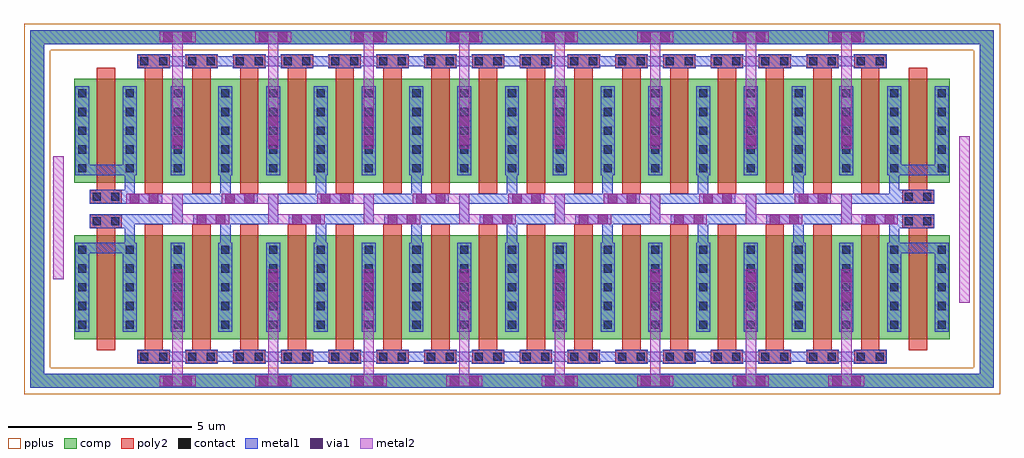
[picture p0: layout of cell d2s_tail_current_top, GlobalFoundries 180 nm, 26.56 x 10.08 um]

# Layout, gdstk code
from math import pi, radians
import gdstk
lib = gdstk.Library(unit=1e-6, precision=5e-09)
def R(c, l, rs):  # rectangles x0, y0, x1, y1
    for r in rs: c.add(gdstk.rectangle(r[:2], r[2:], *l))
def A(c, l, x, y, w, h, nx, ny, dx, dy):  # array of equal rectangles
    R(c, l, [(x+i*dx, y+j*dy, x+i*dx+w, y+j*dy+h) for i in range(nx) for j in range(ny)])
comp = (22, 0)
poly2 = (30, 0)
pplus = (31, 0)
contact = (33, 0)
metal1 = (34, 0)
via1 = (35, 0)
metal2 = (36, 0)

d2s_tail_current_ncell_1 = lib.new_cell('d2s_tail_current_ncell_1$1$1')
R(d2s_tail_current_ncell_1, comp, [(0,0.3,0.42,3.12), (0.42,0.3,1.3,3.12), (1.3,0.3,1.72,3.12)])
R(d2s_tail_current_ncell_1, poly2, [(0.61,0,1.11,3.42)])
A(d2s_tail_current_ncell_1, contact, 0.1, 0.58, 0.22, 0.22, 1, 5, 0, 0.51)
A(d2s_tail_current_ncell_1, contact, 1.4, 0.58, 0.22, 0.22, 1, 5, 0, 0.51)
R(d2s_tail_current_ncell_1, metal1, [(0.02,0.5,0.4,2.92), (1.32,0.5,1.7,2.92)])

d2s_tail_current_ncell_4 = lib.new_cell('d2s_tail_current_ncell_4$1')
A(d2s_tail_current_ncell_4, poly2, 0.425, 3.42, 0.87, 0.36, 4, 1, 1.3, 0)
R(d2s_tail_current_ncell_4, contact, [(0.495,3.49,0.715,3.71), (1.005,3.49,1.225,3.71), (1.795,3.49,2.015,3.71), (2.305,3.49,2.525,3.71), (3.095,3.49,3.315,3.71), (3.605,3.49,3.825,3.71), (4.395,3.49,4.615,3.71), (4.905,3.49,5.125,3.71)])
A(d2s_tail_current_ncell_4, metal1, 0.415, 3.41, 0.89, 0.38, 4, 1, 1.3, 0)
d2s_tail_current_ncell_4.add(gdstk.Reference(d2s_tail_current_ncell_1, (0,0)))
d2s_tail_current_ncell_4.add(gdstk.Reference(d2s_tail_current_ncell_1, (1.3,0)))
d2s_tail_current_ncell_4.add(gdstk.Reference(d2s_tail_current_ncell_1, (2.6,0)))
d2s_tail_current_ncell_4.add(gdstk.Reference(d2s_tail_current_ncell_1, (3.9,0)))

c_d2s_tail_current_ncell_4 = lib.new_cell('d2s_tail_current_ncell_4_4')
R(c_d2s_tail_current_ncell_4, via1, [(1.12,0.23,1.38,0.49), (1.64,0.23,1.9,0.49), (3.72,0.23,3.98,0.49), (4.24,0.23,4.5,0.49), (1.38,2.52,1.64,2.78), (3.98,2.52,4.24,2.78), (1.38,3.04,1.64,3.3), (3.98,3.04,4.24,3.3), (2.03,4.63,2.29,4.89), (2.55,4.63,2.81,4.89), (4.63,4.63,4.89,4.89), (5.15,4.63,5.41,4.89), (0.21,5.19,0.47,5.45), (0.73,5.19,0.99,5.45), (2.81,5.19,3.07,5.45), (3.33,5.19,3.59,5.45), (1.38,6.78,1.64,7.04), (3.98,6.78,4.24,7.04), (1.38,7.3,1.64,7.56), (3.98,7.3,4.24,7.56), (1.12,9.59,1.38,9.85), (1.64,9.59,1.9,9.85), (3.72,9.59,3.98,9.85), (4.24,9.59,4.5,9.85)])
c_d2s_tail_current_ncell_4.add(gdstk.FlexPath([(1.305,1.02),(5.41,1.02)], 0.28, ends="flush", simple_path=True, layer=34, datatype=0))  # metal1
c_d2s_tail_current_ncell_4.add(gdstk.FlexPath([(2.81,5.96),(2.81,5.46)], 0.28, ends="flush", simple_path=True, layer=34, datatype=0))  # metal1
c_d2s_tail_current_ncell_4.add(gdstk.FlexPath([(0.21,9.72),(5.41,9.72)], 0.38, ends="flush", simple_path=True, layer=34, datatype=0))  # metal1
c_d2s_tail_current_ncell_4.add(gdstk.FlexPath([(2.81,4.12),(2.81,4.62)], 0.28, ends="flush", simple_path=True, layer=34, datatype=0))  # metal1
c_d2s_tail_current_ncell_4.add(gdstk.FlexPath([(0.21,4.12),(0.21,4.62)], 0.28, ends="flush", simple_path=True, layer=34, datatype=0))  # metal1
c_d2s_tail_current_ncell_4.add(gdstk.FlexPath([(0.21,5.96),(0.21,5.46)], 0.28, ends="flush", simple_path=True, layer=34, datatype=0))  # metal1
c_d2s_tail_current_ncell_4.add(gdstk.FlexPath([(2.91,5.32),(1.51,5.32),(1.51,4.76),(0.07,4.76)], 0.28, ends="flush", simple_path=True, layer=34, datatype=0))  # metal1
c_d2s_tail_current_ncell_4.add(gdstk.FlexPath([(1.09,5.32),(0.07,5.32)], 0.28, ends="flush", simple_path=True, layer=34, datatype=0))  # metal1
c_d2s_tail_current_ncell_4.add(gdstk.FlexPath([(5.41,4.12),(5.41,4.62)], 0.28, ends="flush", simple_path=True, layer=34, datatype=0))  # metal1
c_d2s_tail_current_ncell_4.add(gdstk.FlexPath([(5.55,5.32),(4.11,5.32),(4.11,4.76),(2.71,4.76)], 0.28, ends="flush", simple_path=True, layer=34, datatype=0))  # metal1
c_d2s_tail_current_ncell_4.add(gdstk.FlexPath([(3.69,5.32),(2.71,5.32)], 0.28, ends="flush", simple_path=True, layer=34, datatype=0))  # metal1
c_d2s_tail_current_ncell_4.add(gdstk.FlexPath([(5.41,5.96),(5.41,5.46)], 0.28, ends="flush", simple_path=True, layer=34, datatype=0))  # metal1
c_d2s_tail_current_ncell_4.add(gdstk.FlexPath([(2.81,4.12),(2.81,4.62)], 0.28, ends="flush", simple_path=True, layer=34, datatype=0))  # metal1
c_d2s_tail_current_ncell_4.add(gdstk.FlexPath([(5.55,4.76),(4.53,4.76)], 0.28, ends="flush", simple_path=True, layer=34, datatype=0))  # metal1
c_d2s_tail_current_ncell_4.add(gdstk.FlexPath([(2.81,5.96),(2.81,5.46)], 0.28, ends="flush", simple_path=True, layer=34, datatype=0))  # metal1
c_d2s_tail_current_ncell_4.add(gdstk.FlexPath([(2.91,4.76),(1.93,4.76)], 0.28, ends="flush", simple_path=True, layer=34, datatype=0))  # metal1
c_d2s_tail_current_ncell_4.add(gdstk.FlexPath([(1.305,9.06),(5.41,9.06)], 0.28, ends="flush", simple_path=True, layer=34, datatype=0))  # metal1
c_d2s_tail_current_ncell_4.add(gdstk.FlexPath([(0.21,0.36),(5.41,0.36)], 0.38, ends="flush", simple_path=True, layer=34, datatype=0))  # metal1
c_d2s_tail_current_ncell_4.add(gdstk.FlexPath([(0.21,9.72),(5.41,9.72)], 0.38, ends="flush", simple_path=True, layer=22, datatype=0))  # comp
c_d2s_tail_current_ncell_4.add(gdstk.FlexPath([(0.21,0.36),(5.41,0.36)], 0.38, ends="flush", simple_path=True, layer=22, datatype=0))  # comp
c_d2s_tail_current_ncell_4.add(gdstk.FlexPath([(2.91,4.76),(1.51,4.76),(1.51,5.32),(0.11,5.32)], 0.28, ends="flush", simple_path=True, layer=36, datatype=0))  # metal2
c_d2s_tail_current_ncell_4.add(gdstk.FlexPath([(5.51,4.76),(4.11,4.76),(4.11,5.32),(2.71,5.32)], 0.28, ends="flush", simple_path=True, layer=36, datatype=0))  # metal2
c_d2s_tail_current_ncell_4.add(gdstk.FlexPath([(4.11,6.68),(4.11,7.66)], 0.28, ends="flush", simple_path=True, layer=36, datatype=0))  # metal2
c_d2s_tail_current_ncell_4.add(gdstk.FlexPath([(1.51,6.68),(1.51,7.66)], 0.28, ends="flush", simple_path=True, layer=36, datatype=0))  # metal2
c_d2s_tail_current_ncell_4.add(gdstk.FlexPath([(4.11,2.42),(4.11,3.4)], 0.28, ends="flush", simple_path=True, layer=36, datatype=0))  # metal2
c_d2s_tail_current_ncell_4.add(gdstk.FlexPath([(1.51,2.42),(1.51,3.4)], 0.28, ends="flush", simple_path=True, layer=36, datatype=0))  # metal2
c_d2s_tail_current_ncell_4.add(gdstk.FlexPath([(1.02,9.72),(2,9.72)], 0.28, ends="flush", simple_path=True, layer=36, datatype=0))  # metal2
c_d2s_tail_current_ncell_4.add(gdstk.FlexPath([(1.51,7.66),(1.51,9.58)], 0.28, ends="flush", simple_path=True, layer=36, datatype=0))  # metal2
c_d2s_tail_current_ncell_4.add(gdstk.FlexPath([(4.11,7.66),(4.11,9.58)], 0.28, ends="flush", simple_path=True, layer=36, datatype=0))  # metal2
c_d2s_tail_current_ncell_4.add(gdstk.FlexPath([(3.62,9.72),(4.6,9.72)], 0.28, ends="flush", simple_path=True, layer=36, datatype=0))  # metal2
c_d2s_tail_current_ncell_4.add(gdstk.FlexPath([(1.02,0.36),(2,0.36)], 0.28, ends="flush", simple_path=True, layer=36, datatype=0))  # metal2
c_d2s_tail_current_ncell_4.add(gdstk.FlexPath([(1.51,2.42),(1.51,0.5)], 0.28, ends="flush", simple_path=True, layer=36, datatype=0))  # metal2
c_d2s_tail_current_ncell_4.add(gdstk.FlexPath([(4.11,2.42),(4.11,0.5)], 0.28, ends="flush", simple_path=True, layer=36, datatype=0))  # metal2
c_d2s_tail_current_ncell_4.add(gdstk.FlexPath([(3.62,0.36),(4.6,0.36)], 0.28, ends="flush", simple_path=True, layer=36, datatype=0))  # metal2
c_d2s_tail_current_ncell_4.add(gdstk.FlexPath([(0.21,9.72),(5.41,9.72)], 0.72, ends="flush", simple_path=True, layer=31, datatype=0))  # pplus
c_d2s_tail_current_ncell_4.add(gdstk.FlexPath([(0.21,0.36),(5.41,0.36)], 0.72, ends="flush", simple_path=True, layer=31, datatype=0))  # pplus
c_d2s_tail_current_ncell_4.add(gdstk.Reference(d2s_tail_current_ncell_4, (0,5.46)))
c_d2s_tail_current_ncell_4.add(gdstk.Reference(d2s_tail_current_ncell_4, (0,4.62), x_reflection=True))

c_d2s_tail_current_ncell_1 = lib.new_cell('d2s_tail_current_ncell_1')
R(c_d2s_tail_current_ncell_1, comp, [(0,0.3,0.42,3.12), (0.42,0.3,1.3,3.12), (1.3,0.3,1.72,3.12)])
R(c_d2s_tail_current_ncell_1, poly2, [(0.61,0,1.11,3.42)])
A(c_d2s_tail_current_ncell_1, contact, 0.1, 0.58, 0.22, 0.22, 1, 5, 0, 0.51)
A(c_d2s_tail_current_ncell_1, contact, 1.4, 0.58, 0.22, 0.22, 1, 5, 0, 0.51)
R(c_d2s_tail_current_ncell_1, metal1, [(0.02,0.5,0.4,2.92), (1.32,0.5,1.7,2.92)])

d2s_tail_current_top = lib.new_cell('d2s_tail_current_top')
R(d2s_tail_current_top, poly2, [(-0.875,4.53,-0.005,4.89), (21.225,4.53,22.095,4.89), (-0.875,5.19,-0.005,5.55), (21.225,5.19,22.095,5.55)])
R(d2s_tail_current_top, contact, [(-0.805,4.6,-0.585,4.82), (-0.295,4.6,-0.075,4.82), (21.295,4.6,21.515,4.82), (21.805,4.6,22.025,4.82), (-0.805,5.26,-0.585,5.48), (-0.295,5.26,-0.075,5.48), (21.295,5.26,21.515,5.48), (21.805,5.26,22.025,5.48)])
R(d2s_tail_current_top, metal1, [(-0.885,4.52,0.005,4.9), (0.005,4.52,0.07,4.9), (21.15,4.52,21.215,4.9), (21.215,4.52,22.105,4.9), (-0.885,5.18,0.005,5.56), (0.005,5.18,0.07,5.56), (21.15,5.18,21.215,5.56), (21.215,5.18,22.105,5.56)])
d2s_tail_current_top.add(gdstk.FlexPath([(21.01,9.72),(23.53,9.72),(23.53,0.36),(21.01,0.36)], 0.38, ends="flush", simple_path=True, layer=34, datatype=0))  # metal1
d2s_tail_current_top.add(gdstk.FlexPath([(0.21,9.72),(-2.31,9.72),(-2.31,0.36),(0.21,0.36)], 0.38, ends="flush", simple_path=True, layer=34, datatype=0))  # metal1
d2s_tail_current_top.add(gdstk.FlexPath([(10.405,9.06),(10.815,9.06)], 0.28, ends="flush", simple_path=True, layer=34, datatype=0))  # metal1
d2s_tail_current_top.add(gdstk.FlexPath([(10.405,1.02),(10.815,1.02)], 0.28, ends="flush", simple_path=True, layer=34, datatype=0))  # metal1
d2s_tail_current_top.add(gdstk.FlexPath([(22.12,6.1),(21.2,6.1)], 0.28, ends="flush", simple_path=True, layer=34, datatype=0))  # metal1
d2s_tail_current_top.add(gdstk.FlexPath([(22.12,3.98),(21.2,3.98)], 0.28, ends="flush", simple_path=True, layer=34, datatype=0))  # metal1
d2s_tail_current_top.add(gdstk.FlexPath([(-0.9,6.1),(0.02,6.1)], 0.28, ends="flush", simple_path=True, layer=34, datatype=0))  # metal1
d2s_tail_current_top.add(gdstk.FlexPath([(-0.9,3.98),(0.02,3.98)], 0.28, ends="flush", simple_path=True, layer=34, datatype=0))  # metal1
d2s_tail_current_top.add(gdstk.FlexPath([(21.01,9.72),(23.53,9.72),(23.53,0.36),(21.01,0.36)], 0.38, ends="flush", simple_path=True, layer=22, datatype=0))  # comp
d2s_tail_current_top.add(gdstk.FlexPath([(0.21,9.72),(-2.31,9.72),(-2.31,0.36),(0.21,0.36)], 0.38, ends="flush", simple_path=True, layer=22, datatype=0))  # comp
d2s_tail_current_top.add(gdstk.FlexPath([(22.92,7.025),(22.92,2.49)], 0.28, ends="flush", simple_path=True, layer=36, datatype=0))  # metal2
d2s_tail_current_top.add(gdstk.FlexPath([(-1.735,6.48),(-1.735,3.13)], 0.28, ends="flush", simple_path=True, layer=36, datatype=0))  # metal2
d2s_tail_current_top.add(gdstk.FlexPath([(21.01,9.72),(23.53,9.72),(23.53,0.36),(21.01,0.36)], 0.72, ends="flush", simple_path=True, layer=31, datatype=0))  # pplus
d2s_tail_current_top.add(gdstk.FlexPath([(0.21,9.72),(-2.31,9.72),(-2.31,0.36),(0.21,0.36)], 0.72, ends="flush", simple_path=True, layer=31, datatype=0))  # pplus
d2s_tail_current_top.add(gdstk.Reference(c_d2s_tail_current_ncell_4, (10.82,10.08), rotation=pi))
d2s_tail_current_top.add(gdstk.Reference(c_d2s_tail_current_ncell_1, (20.8,5.46)))
d2s_tail_current_top.add(gdstk.Reference(c_d2s_tail_current_ncell_1, (20.8,1.2)))
d2s_tail_current_top.add(gdstk.Reference(c_d2s_tail_current_ncell_1, (0.42,5.46), rotation=pi, x_reflection=True))
d2s_tail_current_top.add(gdstk.Reference(c_d2s_tail_current_ncell_1, (0.42,1.2), rotation=pi, x_reflection=True))
d2s_tail_current_top.add(gdstk.Reference(c_d2s_tail_current_ncell_4, (21.22,10.08), rotation=pi))
d2s_tail_current_top.add(gdstk.Reference(c_d2s_tail_current_ncell_4, (10.4,0)))
d2s_tail_current_top.add(gdstk.Reference(c_d2s_tail_current_ncell_4, (0,0)))

lib.write_gds('d2s_tail_current_top.gds')
